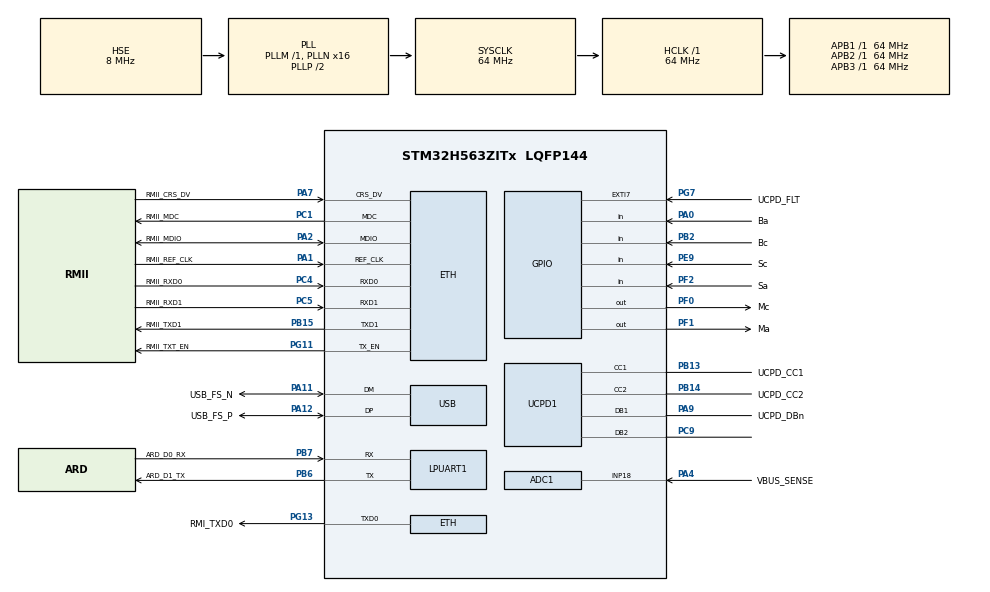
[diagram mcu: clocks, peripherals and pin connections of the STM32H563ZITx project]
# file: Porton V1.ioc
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ADC1.Channel-0\#ChannelRegularConversion=ADC_CHANNEL_18
ADC1.MonitoredBy-0\#ChannelRegularConversion=__NULL
ADC1.NbrOfConversionFlag=1
ADC1.OffsetNumber-0\#ChannelRegularConversion=ADC_OFFSET_NONE
ADC1.Rank-0\#ChannelRegularConversion=1
ADC1.SamplingTime-0\#ChannelRegularConversion=ADC_SAMPLETIME_2CYCLES_5
ADC1.master=1
BOOTPATH.BootPathName=LEGACY
BOOTPATH.UserSelectedBootPath=LEGACY
CORTEX_M33_NS.userName=CORTEX_M33
ETH.MediaInterface=HAL_ETH_RMII_MODE
Mcu.Family=STM32H5
Mcu.Name=STM32H563ZITx
Mcu.Package=LQFP144
NVIC.PriorityGroup=NVIC_PRIORITYGROUP_4
PA0.GPIO_Label=Ba
PA0.Signal=GPIO_Input
PA1.GPIO_Label=RMII_REF_CLK
PA1.GPIO_Mode=GPIO_MODE_AF_PP
PA1.GPIO_PuPd=GPIO_NOPULL
PA1.GPIO_Speed=GPIO_SPEED_FREQ_LOW
PA1.Mode=RMII
PA1.Signal=ETH_REF_CLK
PA11.GPIO_Label=USB_FS_N
PA11.Mode=Device
PA11.Signal=USB_DM
PA12.GPIO_Label=USB_FS_P
PA12.Mode=Device
PA12.Signal=USB_DP
PA13(JTMS/SWDIO).GPIO_Label=SWDIO
PA13(JTMS/SWDIO).Mode=Trace_Synchro_4bits_JTAG
PA13(JTMS/SWDIO).Signal=DEBUG_JTMS-SWDIO
PA14(JTCK/SWCLK).GPIO_Label=SWCLK
PA14(JTCK/SWCLK).Mode=Trace_Synchro_4bits_JTAG
PA14(JTCK/SWCLK).Signal=DEBUG_JTCK-SWCLK
PA15(JTDI).GPIO_Label=T_JTDI
PA15(JTDI).Mode=Trace_Synchro_4bits_JTAG
PA15(JTDI).Signal=DEBUG_JTDI
PA2.GPIO_Label=RMII_MDIO
PA2.GPIO_Mode=GPIO_MODE_AF_PP
PA2.GPIO_PuPd=GPIO_NOPULL
PA2.GPIO_Speed=GPIO_SPEED_FREQ_LOW
PA2.Mode=RMII
PA2.Signal=ETH_MDIO
PA4.GPIO_Label=VBUS_SENSE
PA4.Signal=ADCx_INP18
PA7.GPIO_Label=RMII_CRS_DV
PA7.GPIO_Mode=GPIO_MODE_AF_PP
PA7.GPIO_PuPd=GPIO_NOPULL
PA7.GPIO_Speed=GPIO_SPEED_FREQ_LOW
PA7.Mode=RMII
PA7.Signal=ETH_CRS_DV
PA9.GPIO_Label=UCPD_DBn
PA9.Mode=EnableDeadBattery
PA9.Signal=UCPD1_DB1
PB13.GPIO_Label=UCPD_CC1
PB13.Mode=Source_AllSignals
PB13.Signal=UCPD1_CC1
PB14.GPIO_Label=UCPD_CC2
PB14.Mode=Source_AllSignals
PB14.Signal=UCPD1_CC2
PB15.GPIO_Label=RMII_TXD1
PB15.GPIO_Mode=GPIO_MODE_AF_PP
PB15.GPIO_PuPd=GPIO_NOPULL
PB15.GPIO_Speed=GPIO_SPEED_FREQ_LOW
PB15.Mode=RMII
PB15.Signal=ETH_TXD1
PB2.GPIO_Label=Bc
PB2.Signal=GPIO_Input
PB3(JTDO/TRACESWO).GPIO_Label=SWO
PB3(JTDO/TRACESWO).Mode=Trace_Synchro_4bits_JTAG
PB3(JTDO/TRACESWO).Signal=DEBUG_JTDO-SWO
PB6.GPIO_Label=ARD_D1_TX
PB6.Mode=Asynchronous
PB6.Signal=LPUART1_TX
PB7.GPIO_Label=ARD_D0_RX
PB7.Mode=Asynchronous
PB7.Signal=LPUART1_RX
PC1.GPIO_Label=RMII_MDC
PC1.GPIO_Mode=GPIO_MODE_AF_PP
PC1.GPIO_PuPd=GPIO_NOPULL
PC1.GPIO_Speed=GPIO_SPEED_FREQ_LOW
PC1.Mode=RMII
PC1.Signal=ETH_MDC
PC14-OSC32_IN(OSC32_IN).Mode=LSE-External-Oscillator
PC14-OSC32_IN(OSC32_IN).Signal=RCC_OSC32_IN
PC15-OSC32_OUT(OSC32_OUT).Mode=LSE-External-Oscillator
PC15-OSC32_OUT(OSC32_OUT).Signal=RCC_OSC32_OUT
PC4.GPIO_Label=RMII_RXD0
PC4.GPIO_Mode=GPIO_MODE_AF_PP
PC4.GPIO_PuPd=GPIO_NOPULL
PC4.GPIO_Speed=GPIO_SPEED_FREQ_LOW
PC4.Mode=RMII
PC4.Signal=ETH_RXD0
PC5.GPIO_Label=RMII_RXD1
PC5.GPIO_Mode=GPIO_MODE_AF_PP
PC5.GPIO_PuPd=GPIO_NOPULL
PC5.GPIO_Speed=GPIO_SPEED_FREQ_LOW
PC5.Mode=RMII
PC5.Signal=ETH_RXD1
PC9.Mode=EnableDeadBattery
PC9.Signal=UCPD1_DB2
PE2.GPIO_Label=TRACE_CK
PE2.Mode=Trace_Synchro_4bits_JTAG
PE2.Signal=DEBUG_TRACECLK
PE3.GPIO_Label=TRACE_D0
PE3.Mode=Trace_Synchro_4bits_JTAG
PE3.Signal=DEBUG_TRACED0
PE4.GPIO_Label=TRACE_D1
PE4.Mode=Trace_Synchro_4bits_JTAG
PE4.Signal=DEBUG_TRACED1
PE5.GPIO_Label=TRACE_D2
PE5.Mode=Trace_Synchro_4bits_JTAG
PE5.Signal=DEBUG_TRACED2
PE6.GPIO_Label=TRACE_D3
PE6.Mode=Trace_Synchro_4bits_JTAG
PE6.Signal=DEBUG_TRACED3
PE9.GPIO_Label=Sc
PE9.Signal=GPIO_Input
PF0.GPIO_Label=Mc
PF0.Signal=GPIO_Output
PF1.GPIO_Label=Ma
PF1.Signal=GPIO_Output
PF2.GPIO_Label=Sa
PF2.Signal=GPIO_Input
PG11.GPIO_Label=RMII_TXT_EN
PG11.GPIO_Mode=GPIO_MODE_AF_PP
PG11.GPIO_PuPd=GPIO_NOPULL
PG11.GPIO_Speed=GPIO_SPEED_FREQ_LOW
PG11.Mode=RMII
PG11.Signal=ETH_TX_EN
PG13.GPIO_Label=RMI_TXD0
PG13.GPIO_Mode=GPIO_MODE_AF_PP
PG13.GPIO_PuPd=GPIO_NOPULL
PG13.GPIO_Speed=GPIO_SPEED_FREQ_LOW
PG13.Mode=RMII
PG13.Signal=ETH_TXD0
PG7.GPIO_Label=UCPD_FLT
PG7.Signal=GPXTI7
PH0-OSC_IN(PH0).Mode=HSE-DIG-External-Clock-Source
PH0-OSC_IN(PH0).Signal=RCC_OSC_IN
ProjectManager.HeapSize=0x200
ProjectManager.StackSize=0x400
ProjectManager.TargetToolchain=STM32CubeIDE
RCC.ADCFreq_Value=64000000
RCC.AHBFreq_Value=64000000
RCC.APB1Freq_Value=64000000
RCC.APB1TimFreq_Value=64000000
RCC.APB2Freq_Value=64000000
RCC.APB2TimFreq_Value=64000000
RCC.APB3Freq_Value=64000000
RCC.CSI_VALUE=4000000
RCC.CortexFreq_Value=64000000
RCC.EPOD_VALUE=8000000
RCC.HCLKFreq_Value=64000000
RCC.HSE_VALUE=8000000
RCC.HSI48_VALUE=48000000
RCC.HSIDiv=RCC_HSI_DIV1
RCC.HSI_VALUE=64000000
RCC.LSIRC_VALUE=32000
RCC.PLLFRACN=0
RCC.PLLN=16
RCC.PLLSourceVirtual=RCC_PLL1_SOURCE_HSE
RCC.SYSCLKFreq_VALUE=64000000
RCC.SYSCLKSource=RCC_SYSCLKSOURCE_PLLCLK
RCC.USBFreq_Value=48000000
RCC.VCOOutputFreq_Value=128000000
SH.ADCx_INP18.0=ADC1_INP18,IN18-Single-Ended
USB.VirtualMode=Device_Only
VP_BOOTPATH_VS_BOOTPATH.Mode=BP_Activate
VP_ICACHE_VS_ICACHE.Mode=DefaultMode
VP_MEMORYMAP_VS_MEMORYMAP.Mode=CurAppReg
VP_PWR_VS_DBSignals.Mode=DisableDeadBatterySignals
VP_PWR_VS_LPOM.Mode=PowerOptimisation
VP_PWR_VS_SECSignals.Mode=Security/Privilege
board=NUCLEO-H563ZI

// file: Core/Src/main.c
/* USER CODE BEGIN Header */
/**
  ******************************************************************************
  * @file           : main.c
  * @brief          : Main program body
  ******************************************************************************
  * @attention
  *
  * Copyright (c) 2024 STMicroelectronics.
  * All rights reserved.
  *
  * This software is licensed under terms that can be found in the LICENSE file
  * in the root directory of this software component.
  * If no LICENSE file comes with this software, it is provided AS-IS.
  *
  ******************************************************************************
  */
/* USER CODE END Header */
#include "main.h"
#include "string.h"

ETH_TxPacketConfig TxConfig;
ETH_DMADescTypeDef  DMARxDscrTab[ETH_RX_DESC_CNT]; /* Ethernet Rx DMA Descriptors */
ETH_DMADescTypeDef  DMATxDscrTab[ETH_TX_DESC_CNT]; /* Ethernet Tx DMA Descriptors */

ADC_HandleTypeDef hadc1;

ETH_HandleTypeDef heth;

UART_HandleTypeDef hlpuart1;

PCD_HandleTypeDef hpcd_USB_DRD_FS;

void SystemClock_Config(void);
static void MX_GPIO_Init(void);
static void MX_ADC1_Init(void);
static void MX_ETH_Init(void);
static void MX_ICACHE_Init(void);
static void MX_LPUART1_UART_Init(void);
static void MX_UCPD1_Init(void);
static void MX_USB_PCD_Init(void);
/* USER CODE BEGIN PFP */
#include <stdio.h>
#include <stdlib.h>
#define ESTADO_ERROR        0
#define ESTADO_ABIERTO      1
#define ESTADO_CERRADO      2
#define ESTADO_ABRIENDO     3
#define ESTADO_CERRANDO     4
#define ESTADO_INTERMEDIO   5
#define ESTADO_INIT         6
#define FALSE 0
#define TRUE 1
#define inTrue 0
#define inFalse 1
#define TIME_Ca 60
/* USER CODE END PFP */

int main(void)
{

  /* MCU Configuration--------------------------------------------------------*/

  /* Reset of all peripherals, Initializes the Flash interface and the Systick. */
  HAL_Init();

  /* Configure the system clock */
  SystemClock_Config();

  /* Initialize all configured peripherals */
  MX_GPIO_Init();
  MX_ADC1_Init();
  MX_ETH_Init();
  MX_ICACHE_Init();
  MX_LPUART1_UART_Init();
  MX_UCPD1_Init();
  MX_USB_PCD_Init();

  /* Infinite loop */
  /* USER CODE BEGIN WHILE */
  while (1)
  {

int Func_ESTADO_ERROR(void);
int Func_ESTADO_ABIERTO(void);
int Func_ESTADO_CERRADO(void);
int Func_ESTADO_ABRIENDO(void);
int Func_ESTADO_CERRANDO(void);
int Func_ESTADO_INTERMEDIO(void);
int Func_ESTADO_INIT(void);

volatile int ESTADO_ANTERIOR = ESTADO_INIT;
volatile int ESTADO_ACTUAL = ESTADO_INIT;
volatile int ESTADO_SIGUIENTE = ESTADO_INIT;
volatile int CntTimeCa = 0;//contador de un segundo
volatile struct INOUT
{
    unsigned int Sc:1;
    unsigned int Sa:1;
    unsigned int Mc:1;
    unsigned int Ma:1;
    unsigned int Bc:1;
    unsigned int Ba:1;
    unsigned int Led:1;
} inout;

int main()
{
    for(;;)
    {
        if(ESTADO_SIGUIENTE == ESTADO_INIT)
        {
            ESTADO_SIGUIENTE = Func_ESTADO_INIT();
        }
        if(ESTADO_SIGUIENTE == ESTADO_ABIERTO)
        {
            ESTADO_SIGUIENTE = Func_ESTADO_ABIERTO();
        }
        if(ESTADO_SIGUIENTE == ESTADO_CERRADO)
        {
            ESTADO_SIGUIENTE = Func_ESTADO_CERRADO();
        }
        if(ESTADO_SIGUIENTE == ESTADO_ABRIENDO)
        {
            ESTADO_SIGUIENTE = Func_ESTADO_ABRIENDO();
        }
        if(ESTADO_SIGUIENTE == ESTADO_CERRANDO)
        {
            ESTADO_SIGUIENTE = Func_ESTADO_CERRANDO();
        }
        if(ESTADO_SIGUIENTE == ESTADO_INTERMEDIO)
        {
            ESTADO_SIGUIENTE = Func_ESTADO_INTERMEDIO();
        }
        if(ESTADO_SIGUIENTE == ESTADO_ERROR)
        {
            ESTADO_SIGUIENTE = Func_ESTADO_ERROR();
        }
    }
}

int Func_ESTADO_ERROR(void)
{
    for(;;)
    {
        inout.Led = TRUE;
    }
}
int Func_ESTADO_ABIERTO(void)
{
    ESTADO_ANTERIOR = ESTADO_ACTUAL;
    ESTADO_ACTUAL = ESTADO_ABIERTO;
    inout.Ma = FALSE;
    inout.Mc = FALSE;
    inout.Led = FALSE;
    CntTimeCa = 0;//reset de contador

    for(;;)
    {
        if(CntTimeCa > TIME_Ca)
        {
            return ESTADO_CERRANDO;
        }
        if(inout.Bc == TRUE)
        {
            return ESTADO_CERRANDO;
        }
    }
}
int Func_ESTADO_CERRADO(void)
{
    ESTADO_ANTERIOR = ESTADO_ACTUAL;
    ESTADO_ACTUAL = ESTADO_CERRADO;
    inout.Mc = FALSE;
    inout.Ma = FALSE;

    for(;;)
    {
        if(inout.Ba == TRUE)
        {
            return ESTADO_ABRIENDO;
        }
    }
}
int Func_ESTADO_ABRIENDO(void)
{
    ESTADO_ANTERIOR = ESTADO_ACTUAL;
    ESTADO_ACTUAL   = ESTADO_ABRIENDO;
    inout.Mc = FALSE;
    inout.Ma = TRUE;

    for(;;)
    {
        if(inout.Sa == TRUE)
        {
            return ESTADO_ABIERTO;
        }
    }
}
int Func_ESTADO_CERRANDO(void)
{
    ESTADO_ANTERIOR = ESTADO_ACTUAL;
    ESTADO_ACTUAL = ESTADO_CERRANDO;
    inout.Mc = TRUE;
    inout.Ma = FALSE;

    for(;;)
    {
        if(inout.Sc == TRUE)
        {
            return ESTADO_CERRADO;
        }
    }
}
int Func_ESTADO_INTERMEDIO(void)
{
    ESTADO_ANTERIOR = ESTADO_ACTUAL;
    ESTADO_ACTUAL = ESTADO_INIT;
    inout.Ma = FALSE;
    inout.Mc = FALSE;

    for(;;)
    {
        if(inout.Ba == TRUE)
        {
            return ESTADO_ABRIENDO;
        }
        if(inout.Bc == TRUE)
        {
           return ESTADO_CERRANDO;
        }
    }
}
int Func_ESTADO_INIT(void)
{
    ESTADO_ANTERIOR = ESTADO_ACTUAL;
    ESTADO_ACTUAL = ESTADO_INIT;
    inout.Ma = FALSE;
    inout.Mc = FALSE;

    /* USER CODE END WHILE */

  }
}

void SystemClock_Config(void)
{
  RCC_OscInitTypeDef RCC_OscInitStruct = {0};
  RCC_ClkInitTypeDef RCC_ClkInitStruct = {0};

  /** Configure the main internal regulator output voltage
  */
  __HAL_PWR_VOLTAGESCALING_CONFIG(PWR_REGULATOR_VOLTAGE_SCALE3);

  while(!__HAL_PWR_GET_FLAG(PWR_FLAG_VOSRDY)) {}

  /** Initializes the RCC Oscillators according to the specified parameters
  * in the RCC_OscInitTypeDef structure.
  */
  RCC_OscInitStruct.OscillatorType = RCC_OSCILLATORTYPE_HSI48|RCC_OSCILLATORTYPE_HSI
                              |RCC_OSCILLATORTYPE_HSE;
  RCC_OscInitStruct.HSEState = RCC_HSE_BYPASS_DIGITAL;
  RCC_OscInitStruct.HSIState = RCC_HSI_ON;
  RCC_OscInitStruct.HSIDiv = RCC_HSI_DIV1;
  RCC_OscInitStruct.HSICalibrationValue = RCC_HSICALIBRATION_DEFAULT;
  RCC_OscInitStruct.HSI48State = RCC_HSI48_ON;
  RCC_OscInitStruct.PLL.PLLState = RCC_PLL_ON;
  RCC_OscInitStruct.PLL.PLLSource = RCC_PLL1_SOURCE_HSE;
  RCC_OscInitStruct.PLL.PLLM = 1;
  RCC_OscInitStruct.PLL.PLLN = 16;
  RCC_OscInitStruct.PLL.PLLP = 2;
  RCC_OscInitStruct.PLL.PLLQ = 2;
  RCC_OscInitStruct.PLL.PLLR = 2;
  RCC_OscInitStruct.PLL.PLLRGE = RCC_PLL1_VCIRANGE_3;
  RCC_OscInitStruct.PLL.PLLVCOSEL = RCC_PLL1_VCORANGE_WIDE;
  RCC_OscInitStruct.PLL.PLLFRACN = 0;
  if (HAL_RCC_OscConfig(&RCC_OscInitStruct) != HAL_OK)
  {
    Error_Handler();
  }

  /** Initializes the CPU, AHB and APB buses clocks
  */
  RCC_ClkInitStruct.ClockType = RCC_CLOCKTYPE_HCLK|RCC_CLOCKTYPE_SYSCLK
                              |RCC_CLOCKTYPE_PCLK1|RCC_CLOCKTYPE_PCLK2
                              |RCC_CLOCKTYPE_PCLK3;
  RCC_ClkInitStruct.SYSCLKSource = RCC_SYSCLKSOURCE_PLLCLK;
  RCC_ClkInitStruct.AHBCLKDivider = RCC_SYSCLK_DIV1;
  RCC_ClkInitStruct.APB1CLKDivider = RCC_HCLK_DIV1;
  RCC_ClkInitStruct.APB2CLKDivider = RCC_HCLK_DIV1;
  RCC_ClkInitStruct.APB3CLKDivider = RCC_HCLK_DIV1;

  if (HAL_RCC_ClockConfig(&RCC_ClkInitStruct, FLASH_LATENCY_3) != HAL_OK)
  {
    Error_Handler();
  }
}

static void MX_ADC1_Init(void)
{

  ADC_ChannelConfTypeDef sConfig = {0};

  /** Common config
  */
  hadc1.Instance = ADC1;
  hadc1.Init.ClockPrescaler = ADC_CLOCK_ASYNC_DIV1;
  hadc1.Init.Resolution = ADC_RESOLUTION_12B;
  hadc1.Init.DataAlign = ADC_DATAALIGN_RIGHT;
  hadc1.Init.ScanConvMode = ADC_SCAN_DISABLE;
  hadc1.Init.EOCSelection = ADC_EOC_SINGLE_CONV;
  hadc1.Init.LowPowerAutoWait = DISABLE;
  hadc1.Init.ContinuousConvMode = DISABLE;
  hadc1.Init.NbrOfConversion = 1;
  hadc1.Init.DiscontinuousConvMode = DISABLE;
  hadc1.Init.ExternalTrigConv = ADC_SOFTWARE_START;
  hadc1.Init.ExternalTrigConvEdge = ADC_EXTERNALTRIGCONVEDGE_NONE;
  hadc1.Init.DMAContinuousRequests = DISABLE;
  hadc1.Init.SamplingMode = ADC_SAMPLING_MODE_NORMAL;
  hadc1.Init.Overrun = ADC_OVR_DATA_PRESERVED;
  hadc1.Init.OversamplingMode = DISABLE;
  if (HAL_ADC_Init(&hadc1) != HAL_OK)
  {
    Error_Handler();
  }

  /** Configure Regular Channel
  */
  sConfig.Channel = ADC_CHANNEL_18;
  sConfig.Rank = ADC_REGULAR_RANK_1;
  sConfig.SamplingTime = ADC_SAMPLETIME_2CYCLES_5;
  sConfig.SingleDiff = ADC_SINGLE_ENDED;
  sConfig.OffsetNumber = ADC_OFFSET_NONE;
  sConfig.Offset = 0;
  if (HAL_ADC_ConfigChannel(&hadc1, &sConfig) != HAL_OK)
  {
    Error_Handler();
  }

}

static void MX_ETH_Init(void)
{

   static uint8_t MACAddr[6];

  heth.Instance = ETH;
  MACAddr[0] = 0x00;
  MACAddr[1] = 0x80;
  MACAddr[2] = 0xE1;
  MACAddr[3] = 0x00;
  MACAddr[4] = 0x00;
  MACAddr[5] = 0x00;
  heth.Init.MACAddr = &MACAddr[0];
  heth.Init.MediaInterface = HAL_ETH_RMII_MODE;
  heth.Init.TxDesc = DMATxDscrTab;
  heth.Init.RxDesc = DMARxDscrTab;
  heth.Init.RxBuffLen = 1524;

  if (HAL_ETH_Init(&heth) != HAL_OK)
  {
    Error_Handler();
  }

  memset(&TxConfig, 0 , sizeof(ETH_TxPacketConfig));
  TxConfig.Attributes = ETH_TX_PACKETS_FEATURES_CSUM | ETH_TX_PACKETS_FEATURES_CRCPAD;
  TxConfig.ChecksumCtrl = ETH_CHECKSUM_IPHDR_PAYLOAD_INSERT_PHDR_CALC;
  TxConfig.CRCPadCtrl = ETH_CRC_PAD_INSERT;

}

static void MX_ICACHE_Init(void)
{

  /** Enable instruction cache (default 2-ways set associative cache)
  */
  if (HAL_ICACHE_Enable() != HAL_OK)
  {
    Error_Handler();
  }

}

static void MX_LPUART1_UART_Init(void)
{

  hlpuart1.Instance = LPUART1;
  hlpuart1.Init.BaudRate = 209700;
  hlpuart1.Init.WordLength = UART_WORDLENGTH_8B;
  hlpuart1.Init.StopBits = UART_STOPBITS_1;
  hlpuart1.Init.Parity = UART_PARITY_NONE;
  hlpuart1.Init.Mode = UART_MODE_TX_RX;
  hlpuart1.Init.HwFlowCtl = UART_HWCONTROL_NONE;
  hlpuart1.Init.OneBitSampling = UART_ONE_BIT_SAMPLE_DISABLE;
  hlpuart1.AdvancedInit.AdvFeatureInit = UART_ADVFEATURE_NO_INIT;
  hlpuart1.FifoMode = UART_FIFOMODE_DISABLE;
  if (HAL_UART_Init(&hlpuart1) != HAL_OK)
  {
    Error_Handler();
  }
  if (HAL_UARTEx_SetTxFifoThreshold(&hlpuart1, UART_TXFIFO_THRESHOLD_1_8) != HAL_OK)
  {
    Error_Handler();
  }
  if (HAL_UARTEx_SetRxFifoThreshold(&hlpuart1, UART_RXFIFO_THRESHOLD_1_8) != HAL_OK)
  {
    Error_Handler();
  }
  if (HAL_UARTEx_DisableFifoMode(&hlpuart1) != HAL_OK)
  {
    Error_Handler();
  }

}

static void MX_UCPD1_Init(void)
{

  LL_GPIO_InitTypeDef GPIO_InitStruct = {0};

  /* Peripheral clock enable */
  LL_APB1_GRP2_EnableClock(LL_APB1_GRP2_PERIPH_UCPD1);

  LL_AHB2_GRP1_EnableClock(LL_AHB2_GRP1_PERIPH_GPIOB);
  /**UCPD1 GPIO Configuration
  PB13   ------> UCPD1_CC1
  PB14   ------> UCPD1_CC2
  */
  GPIO_InitStruct.Pin = LL_GPIO_PIN_13|LL_GPIO_PIN_14;
  GPIO_InitStruct.Mode = LL_GPIO_MODE_ANALOG;
  GPIO_InitStruct.Pull = LL_GPIO_PULL_NO;
  LL_GPIO_Init(GPIOB, &GPIO_InitStruct);

}

static void MX_USB_PCD_Init(void)
{

  hpcd_USB_DRD_FS.Instance = USB_DRD_FS;
  hpcd_USB_DRD_FS.Init.dev_endpoints = 8;
  hpcd_USB_DRD_FS.Init.speed = USBD_FS_SPEED;
  hpcd_USB_DRD_FS.Init.phy_itface = PCD_PHY_EMBEDDED;
  hpcd_USB_DRD_FS.Init.Sof_enable = DISABLE;
  hpcd_USB_DRD_FS.Init.low_power_enable = DISABLE;
  hpcd_USB_DRD_FS.Init.lpm_enable = DISABLE;
  hpcd_USB_DRD_FS.Init.battery_charging_enable = DISABLE;
  hpcd_USB_DRD_FS.Init.vbus_sensing_enable = DISABLE;
  hpcd_USB_DRD_FS.Init.bulk_doublebuffer_enable = DISABLE;
  hpcd_USB_DRD_FS.Init.iso_singlebuffer_enable = DISABLE;
  if (HAL_PCD_Init(&hpcd_USB_DRD_FS) != HAL_OK)
  {
    Error_Handler();
  }

}

static void MX_GPIO_Init(void)
{
  GPIO_InitTypeDef GPIO_InitStruct = {0};

  /* GPIO Ports Clock Enable */
  __HAL_RCC_GPIOE_CLK_ENABLE();
  __HAL_RCC_GPIOC_CLK_ENABLE();
  __HAL_RCC_GPIOF_CLK_ENABLE();
  __HAL_RCC_GPIOH_CLK_ENABLE();
  __HAL_RCC_GPIOA_CLK_ENABLE();
  __HAL_RCC_GPIOB_CLK_ENABLE();
  __HAL_RCC_GPIOG_CLK_ENABLE();

  /*Configure GPIO pin Output Level */
  HAL_GPIO_WritePin(GPIOF, Mc_Pin|Ma_Pin, GPIO_PIN_RESET);

  /*Configure GPIO pins : Mc_Pin Ma_Pin */
  GPIO_InitStruct.Pin = Mc_Pin|Ma_Pin;
  GPIO_InitStruct.Mode = GPIO_MODE_OUTPUT_PP;
  GPIO_InitStruct.Pull = GPIO_NOPULL;
  GPIO_InitStruct.Speed = GPIO_SPEED_FREQ_LOW;
  HAL_GPIO_Init(GPIOF, &GPIO_InitStruct);

  /*Configure GPIO pin : Sa_Pin */
  GPIO_InitStruct.Pin = Sa_Pin;
  GPIO_InitStruct.Mode = GPIO_MODE_INPUT;
  GPIO_InitStruct.Pull = GPIO_NOPULL;
  HAL_GPIO_Init(Sa_GPIO_Port, &GPIO_InitStruct);

  /*Configure GPIO pin : Ba_Pin */
  GPIO_InitStruct.Pin = Ba_Pin;
  GPIO_InitStruct.Mode = GPIO_MODE_INPUT;
  GPIO_InitStruct.Pull = GPIO_NOPULL;
  HAL_GPIO_Init(Ba_GPIO_Port, &GPIO_InitStruct);

  /*Configure GPIO pin : Bc_Pin */
  GPIO_InitStruct.Pin = Bc_Pin;
  GPIO_InitStruct.Mode = GPIO_MODE_INPUT;
  GPIO_InitStruct.Pull = GPIO_NOPULL;
  HAL_GPIO_Init(Bc_GPIO_Port, &GPIO_InitStruct);

  /*Configure GPIO pin : Sc_Pin */
  GPIO_InitStruct.Pin = Sc_Pin;
  GPIO_InitStruct.Mode = GPIO_MODE_INPUT;
  GPIO_InitStruct.Pull = GPIO_NOPULL;
  HAL_GPIO_Init(Sc_GPIO_Port, &GPIO_InitStruct);

  /*Configure GPIO pin : UCPD_FLT_Pin */
  GPIO_InitStruct.Pin = UCPD_FLT_Pin;
  GPIO_InitStruct.Mode = GPIO_MODE_IT_RISING;
  GPIO_InitStruct.Pull = GPIO_NOPULL;
  HAL_GPIO_Init(UCPD_FLT_GPIO_Port, &GPIO_InitStruct);

}

void Error_Handler(void)
{
  /* USER CODE BEGIN Error_Handler_Debug */
  /* User can add his own implementation to report the HAL error return state */
  __disable_irq();
  while (1)
  {
#include <stdio.h>
#include <stdlib.h>
#define ESTADO_ERROR        0
#define ESTADO_ABIERTO      1
#define ESTADO_CERRADO      2
#define ESTADO_ABRIENDO     3
#define ESTADO_CERRANDO     4
#define ESTADO_INTERMEDIO   5
#define ESTADO_INIT         6
#define FALSE 0
#define TRUE 1
#define inTrue 0
#define inFalse 1
#define TIME_Ca 60
int Func_ESTADO_ERROR(void);
int Func_ESTADO_ABIERTO(void);
int Func_ESTADO_CERRADO(void);
int Func_ESTADO_ABRIENDO(void);
int Func_ESTADO_CERRANDO(void);
int Func_ESTADO_INTERMEDIO(void);
int Func_ESTADO_INIT(void);

volatile int ESTADO_ANTERIOR = ESTADO_INIT;
volatile int ESTADO_ACTUAL = ESTADO_INIT;
volatile int ESTADO_SIGUIENTE = ESTADO_INIT;
volatile int CntTimeCa = 0;//contador de un segundo
volatile struct INOUT
{
    unsigned int Sc:1;
    unsigned int Sa:1;
    unsigned int Mc:1;
    unsigned int Ma:1;
    unsigned int Bc:1;
    unsigned int Ba:1;
    unsigned int Led:1;
} inout;

int main()
{
    for(;;)
    {
        if(ESTADO_SIGUIENTE == ESTADO_INIT)
        {
            ESTADO_SIGUIENTE = Func_ESTADO_INIT();
        }
        if(ESTADO_SIGUIENTE == ESTADO_ABIERTO)
        {
            ESTADO_SIGUIENTE = Func_ESTADO_ABIERTO();
        }
        if(ESTADO_SIGUIENTE == ESTADO_CERRADO)
        {
            ESTADO_SIGUIENTE = Func_ESTADO_CERRADO();
        }
        if(ESTADO_SIGUIENTE == ESTADO_ABRIENDO)
        {
            ESTADO_SIGUIENTE = Func_ESTADO_ABRIENDO();
        }
        if(ESTADO_SIGUIENTE == ESTADO_CERRANDO)
        {
            ESTADO_SIGUIENTE = Func_ESTADO_CERRANDO();
        }
        if(ESTADO_SIGUIENTE == ESTADO_INTERMEDIO)
        {
            ESTADO_SIGUIENTE = Func_ESTADO_INTERMEDIO();
        }
        if(ESTADO_SIGUIENTE == ESTADO_ERROR)
        {
            ESTADO_SIGUIENTE = Func_ESTADO_ERROR();
        }
    }
}

int Func_ESTADO_ERROR(void)
{
    for(;;)
    {
        inout.Led = TRUE;
    }
}
int Func_ESTADO_ABIERTO(void)
{
    ESTADO_ANTERIOR = ESTADO_ACTUAL;
    ESTADO_ACTUAL = ESTADO_ABIERTO;
    inout.Ma = FALSE;
    inout.Mc = FALSE;
    inout.Led = FALSE;
    CntTimeCa = 0;//reset de contador

    for(;;)
    {
        if(CntTimeCa > TIME_Ca)
        {
            return ESTADO_CERRANDO;
        }
        if(inout.Bc == TRUE)
        {
            return ESTADO_CERRANDO;
        }
    }
}
int Func_ESTADO_CERRADO(void)
{
    ESTADO_ANTERIOR = ESTADO_ACTUAL;
    ESTADO_ACTUAL = ESTADO_CERRADO;
    inout.Mc = FALSE;
    inout.Ma = FALSE;

    for(;;)
    {
        if(inout.Ba == TRUE)
        {
            return ESTADO_ABRIENDO;
        }
    }
}
int Func_ESTADO_ABRIENDO(void)
{
    ESTADO_ANTERIOR = ESTADO_ACTUAL;
    ESTADO_ACTUAL   = ESTADO_ABRIENDO;
    inout.Mc = FALSE;
    inout.Ma = TRUE;

    for(;;)
    {
        if(inout.Sa == TRUE)
        {
            return ESTADO_ABIERTO;
        }
    }
}
int Func_ESTADO_CERRANDO(void)
{
    ESTADO_ANTERIOR = ESTADO_ACTUAL;
    ESTADO_ACTUAL = ESTADO_CERRANDO;
    inout.Mc = TRUE;
    inout.Ma = FALSE;

    for(;;)
    {
        if(inout.Sc == TRUE)
        {
            return ESTADO_CERRADO;
        }
    }
}
int Func_ESTADO_INTERMEDIO(void)
{
    ESTADO_ANTERIOR = ESTADO_ACTUAL;
    ESTADO_ACTUAL = ESTADO_INIT;
    inout.Ma = FALSE;
    inout.Mc = FALSE;

    for(;;)
    {
        if(inout.Ba == TRUE)
        {
            return ESTADO_ABRIENDO;
        }
        if(inout.Bc == TRUE)
        {
           return ESTADO_CERRANDO;
        }
    }
}
int Func_ESTADO_INIT(void)
{
    ESTADO_ANTERIOR = ESTADO_ACTUAL;
    ESTADO_ACTUAL = ESTADO_INIT;
    inout.Ma = FALSE;
    inout.Mc = FALSE;
    for(;;)
    {
        if((inout.Sa == inTrue) && (inout.Sc == inTrue))
        {
            return ESTADO_ERROR;
        }
        if((inout.Sa == inTrue) && (inout.Sc == inFalse))
        {
            return ESTADO_ABIERTO;
        }
        if((inout.Sa == inTrue) && (inout.Sc == inFalse))
        {
            return ESTADO_INTERMEDIO;
        }
        if((inout.Sa == inTrue) && (inout.Sc == inTrue))
        {
            return ESTADO_CERRADO;
        }
    }
}

void int General100ms(void)
{
    static int cont_int = 0;

    cont_int++;

    if(cont_int == 9)
    {
        CntTimeCa++;
        cont_int = 0;
    }

    if(HAL_GPIO_Read(PUERTO,PIN_Bc))//Pulsador de cerrado
    {
        inout.Bc = TRUE;
    }
    else
    {
        inout.Bc = FALSE;
    }

    if(HAL_GPIO_Read(PUERTO,PIN_Ba))//pulsador de abrir
    {
        inout.Ba = TRUE;
    }
    else
    {
        inout.Ba = FALSE;
    }

    if(HAL_GPIO_Read(PUERTO,PIN_Sc))//Sensor de puerta cerrada
    {
        inout.Sc = TRUE;
    }
    else
  }
  }
  /* USER CODE END Error_Handler_Debug */
}
